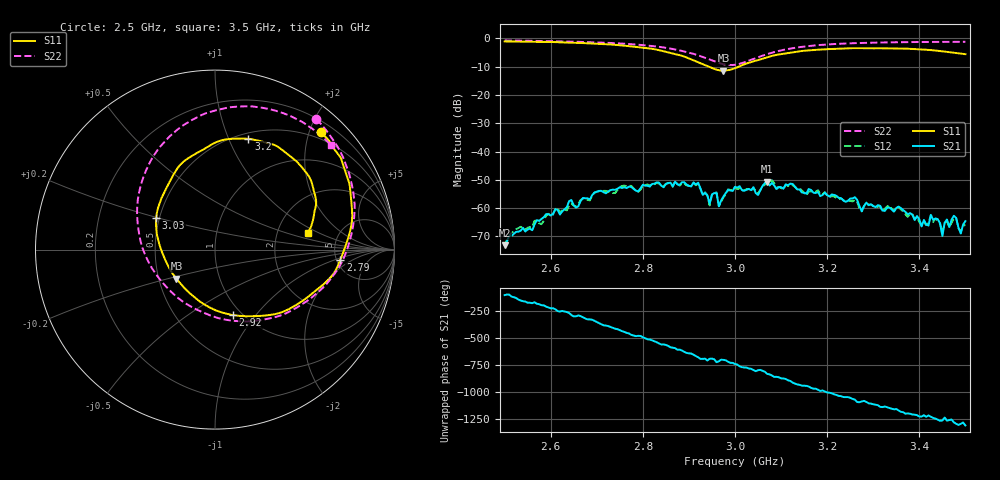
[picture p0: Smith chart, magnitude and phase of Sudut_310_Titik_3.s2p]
# Hz S RI R 50
! CMT, C1220, 16058040, 17.2.0/1
! Date: 15/08/2018 10:44:58
! Data: Format (Calibration Info)
! Freq  S11: Re/Im (F2)  S21: Re/Im (F2)  S12: Re/Im (F2)  S22: Re/Im (F2)
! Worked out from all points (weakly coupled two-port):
!   201 points, 2.5 GHz to 3.5 GHz, reference 50 ohm
!   highest |S21| = -50.64 dB at 3.07 GHz (marker M1); lowest = -73.1 dB at 2.5 GHz (marker M2)
!   lowest |S11| = -11.4 dB at 2.975 GHz (marker M3), VSWR 1.74, Z = 30.9 - j10.8 ohm
!   |S11| at or under -10 dB: 2.944 GHz to 3.008 GHz (64.39 MHz wide, 2.16 % of centre)
!   |S22| runs from -9.4 to -0.7 dB; largest |S21 - S12| = 0.00035
!   S11 on the Smith chart (normalised r, x): 2.5 GHz: 0.37, +2.20; 2.79 GHz: 5.39, -1.21; 2.92 GHz: 0.91, -0.77; 3.03 GHz: 0.48, +0.19; 3.2 GHz: 0.56, +1.18; 3.5 GHz: 2.99, +0.78
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2.5e9  0.5926 0.6538  -5.49e-05 -0.000215  -4.34e-05 -0.000208  0.5639 0.7259
2.67e9  0.752 0.3431  0.000959 0.00117  0.00101 0.00105  0.7368 0.4534
2.79e9  0.6977 -0.0572  -0.00101 -0.00171  -0.00104 -0.00164  0.7655 0.1088
2.835e9  0.5828 -0.211  -0.00277 0.000551  -0.00268 0.00047  0.7073 -0.0678
2.92e9  0.0995 -0.3649  0.00213 0.00183  0.00198 0.00183  0.3303 -0.3776
2.945e9  -0.0553 -0.3083  0.00106 0.000543  0.00101 0.000475  0.1382 -0.3992
2.975e9  -0.2149 -0.1623  0.00154 0.000455  0.0015 0.000453  -0.1009 -0.3347
3e9  -0.2965 -0.0107  0.0022 -0.000908  0.00211 -0.000991  -0.272 -0.2066
3.03e9  -0.3273 0.1745  0.000972 -0.00196  0.000951 -0.00195  -0.4039 0.00903
3.07e9  -0.2437 0.394  -0.00118 -0.00269  -0.00102 -0.00271  -0.4241 0.3143
3.17e9  0.0867 0.6167  -0.000648 0.00177  -0.000755 0.00176  -0.0922 0.7411
3.2e9  0.1861 0.6171  0.000442 0.00164  0.000534 0.00156  0.0185 0.779
3.26e9  0.3481 0.5742  0.00154 0.000232  0.00138 0.000165  0.2096 0.7974
3.275e9  0.3767 0.5533  0.000872 -0.000133  0.000877 -4.45e-05  0.2514 0.792
3.335e9  0.4891 0.452  0.00036 -0.00096  0.000321 -0.00107  0.3928 0.7554
3.405e9  0.5558 0.3086  -0.000404 -0.000251  -0.000381 -0.000319  0.5188 0.6887
3.425e9  0.564 0.2617  -0.000661 -0.000377  -0.000617 -0.000387  0.5488 0.6686
3.45e9  0.5538 0.2069  -0.000321 2.63e-05  -0.000367 -2.27e-06  0.5848 0.6404
3.46e9  0.549 0.1799  -0.000625 6.48e-05  -0.000584 5.14e-05  0.5975 0.6303
3.48e9  0.5366 0.1313  -0.00055 0.000384  -0.00055 0.000373  0.6216 0.6068
3.49e9  0.5274 0.1124  -0.000289 0.000208  -0.000291 0.000251  0.6332 0.595
3.5e9  0.5174 0.0943  -0.000374 0.000455  -0.000316 0.000393  0.6445 0.5838
